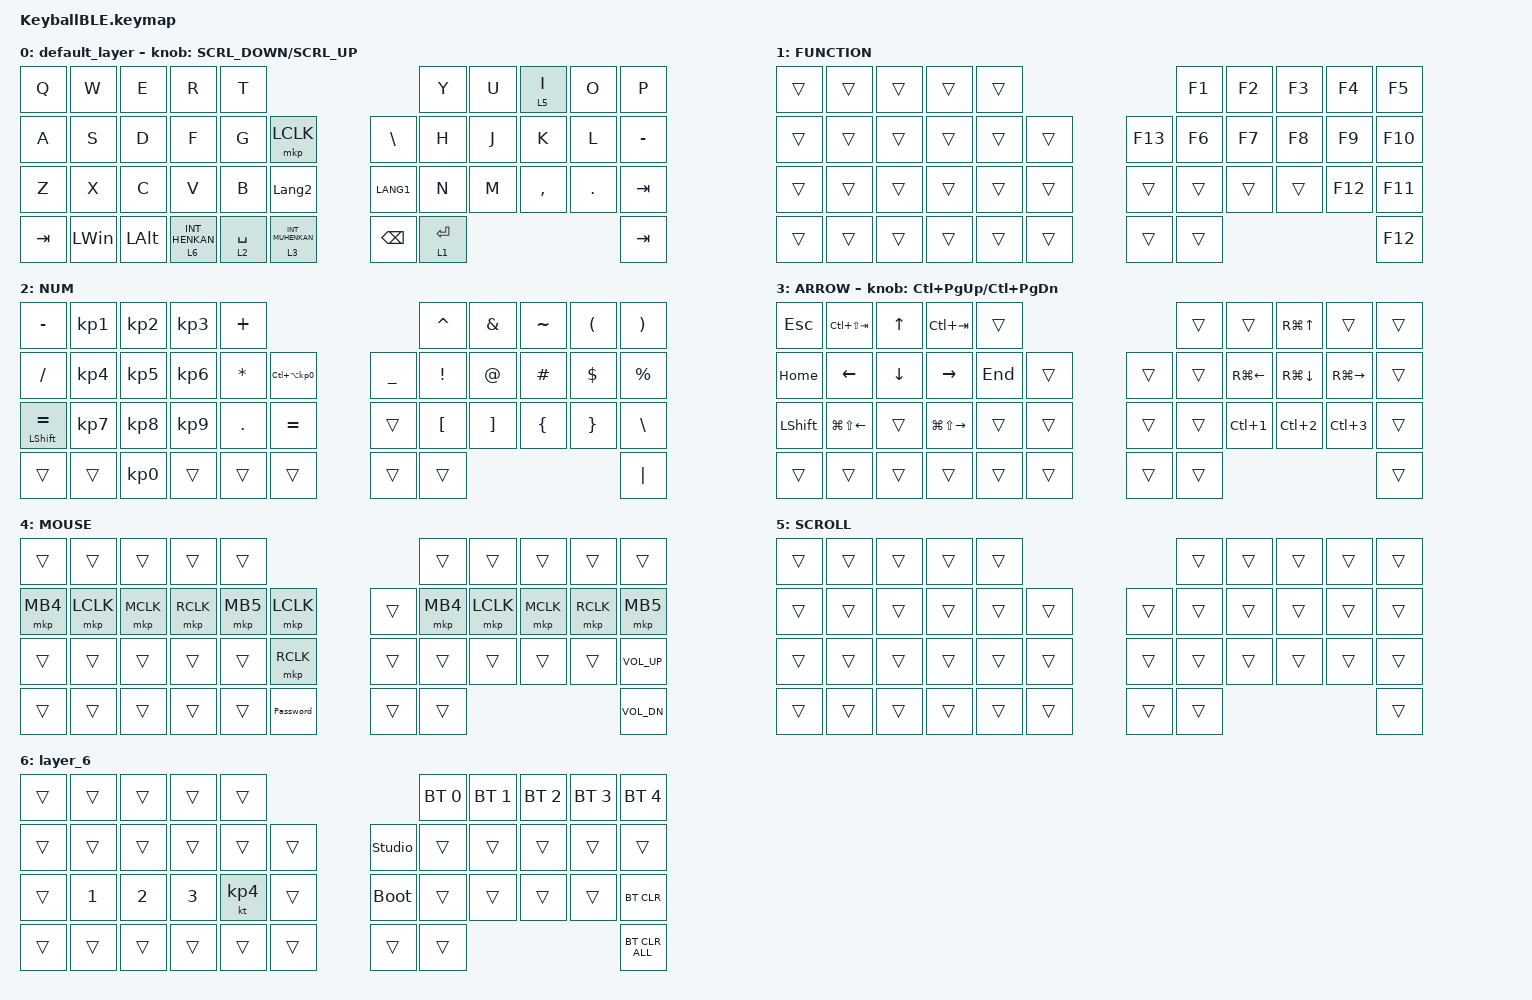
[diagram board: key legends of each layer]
#define ZMK_POINTING_DEFAULT_SCRL_VAL 120    // default: 10

#include <behaviors.dtsi>
#include <dt-bindings/zmk/bt.h>
#include <dt-bindings/zmk/keys.h>
#include <dt-bindings/zmk/pointing.h>

#define MOUSE 4
#define SCROLL 5
#define NUM 6

&mt {
    flavor = "balanced";
    quick-tap-ms = <0>;
};

/ {
    combos {
        compatible = "zmk,combos";

        double_quotation {
            bindings = <&kp DOUBLE_QUOTES>;
            key-positions = <20 21>;
        };
    };

    macros {
        to_layer_0: to_layer_0 {
            compatible = "zmk,behavior-macro-one-param";
            #binding-cells = <1>;
            bindings = <&to 0 &macro_param_1to1 &kp MACRO_PLACEHOLDER>;
            label = "TO_LAYER_0";
        };

        Password: Password {
            compatible = "zmk,behavior-macro";
            #binding-cells = <0>;
            bindings = <&none &kp LS(Y) &kp U &kp K &kp I &kp N1 &kp N4 &kp N5 &kp N0 &kp LS(Y) &kp U &kp K &kp I &kp N1 &kp N4 &kp N5 &kp N0 &kp DLLR>;
            label = "PASSWORD";
        };
    };

    behaviors {
        lt_to_layer_0: lt_to_layer_0 {
            compatible = "zmk,behavior-hold-tap";
            label = "LAYER_TAP_TO_0";
            bindings = <&mo>, <&to_layer_0>;

            #binding-cells = <2>;
            tapping-term-ms = <200>;
        };

        ROTATE: ROTATE {
            compatible = "zmk,behavior-sensor-rotate-var";
            label = "ROTATE";
            #sensor-binding-cells = <2>;
            bindings = <&msc>, <&msc>;

            tap-ms = <20>;
        };
    };

    keymap {
        compatible = "zmk,keymap";

        default_layer {
            bindings = <
&kp Q    &kp W         &kp E         &kp R                        &kp T                                                          &kp Y        &kp U  &lt 5 I    &kp O    &kp P
&kp A    &kp S         &kp D         &kp F                        &kp G        &mkp LCLK                          &kp BACKSLASH  &kp H        &kp J  &kp K      &kp L    &kp MINUS
&kp Z    &kp X         &kp C         &kp V                        &kp B        &kp LANGUAGE_2                     &kp LANG1      &kp N        &kp M  &kp COMMA  &kp DOT  &kp TAB
&kp TAB  &kp LEFT_WIN  &kp LEFT_ALT  &lt_to_layer_0 6 INT_HENKAN  &lt 2 SPACE  &lt_to_layer_0 3 INT_MUHENKAN      &kp BACKSPACE  &lt 1 ENTER                             &kp TAB
            >;

            sensor-bindings = <&ROTATE SCRL_DOWN SCRL_UP>;
        };

        FUNCTION {
            bindings = <
&trans  &trans  &trans  &trans  &trans                       &kp F1  &kp F2  &kp F3  &kp F4   &kp F5
&trans  &trans  &trans  &trans  &trans  &trans      &kp F13  &kp F6  &kp F7  &kp F8  &kp F9   &kp F10
&trans  &trans  &trans  &trans  &trans  &trans      &trans   &trans  &trans  &trans  &kp F12  &kp F11
&trans  &trans  &trans  &trans  &trans  &trans      &trans   &trans                           &kp F12
            >;
        };

        NUM {
            bindings = <
&kp MINUS             &kp KP_NUMBER_1  &kp KP_NUMBER_2  &kp KP_NUMBER_3  &kp PLUS                                                   &kp CARET         &kp AMPERSAND      &kp TILDE       &kp LEFT_PARENTHESIS  &kp RIGHT_PARENTHESIS
&kp SLASH             &kp KP_NUMBER_4  &kp KP_NUMBER_5  &kp KP_NUMBER_6  &kp ASTERISK  &kp LC(LA(KP_NUMBER_0))      &kp UNDERSCORE  &kp EXCLAMATION   &kp AT_SIGN        &kp HASH        &kp DOLLAR            &kp PERCENT
&mt LEFT_SHIFT EQUAL  &kp KP_NUMBER_7  &kp KP_NUMBER_8  &kp KP_NUMBER_9  &kp PERIOD    &kp EQUAL                    &trans          &kp LEFT_BRACKET  &kp RIGHT_BRACKET  &kp LEFT_BRACE  &kp RIGHT_BRACE       &kp BACKSLASH
&trans                &trans           &kp KP_NUMBER_0  &trans           &trans        &trans                       &trans          &trans                                                                     &kp PIPE
            >;
        };

        ARROW {
            bindings = <
&kp ESCAPE      &kp LC(LS(TAB))         &kp UP_ARROW    &kp LC(TAB)              &trans                       &trans  &trans              &kp RG(UP_ARROW)  &trans            &trans
&kp HOME        &kp LEFT_ARROW          &kp DOWN_ARROW  &kp RIGHT_ARROW          &kp END  &trans      &trans  &trans  &kp RG(LEFT_ARROW)  &kp RG(DOWN)      &kp RG(RIGHT)     &trans
&kp LEFT_SHIFT  &kp LG(LS(LEFT_ARROW))  &trans          &kp LG(LS(RIGHT_ARROW))  &trans   &trans      &trans  &trans  &kp LC(NUMBER_1)    &kp LC(NUMBER_2)  &kp LC(NUMBER_3)  &trans
&trans          &trans                  &trans          &trans                   &trans   &trans      &trans  &trans                                                          &trans
            >;

            sensor-bindings = <&inc_dec_kp LC(PAGE_UP) LC(PAGE_DOWN)>;
        };

        MOUSE {
            bindings = <
&trans    &trans     &trans     &trans     &trans                           &trans    &trans     &trans     &trans     &trans
&mkp MB4  &mkp LCLK  &mkp MCLK  &mkp RCLK  &mkp MB5  &mkp LCLK      &trans  &mkp MB4  &mkp LCLK  &mkp MCLK  &mkp RCLK  &mkp MB5
&trans    &trans     &trans     &trans     &trans    &mkp RCLK      &trans  &trans    &trans     &trans     &trans     &kp C_VOLUME_UP
&trans    &trans     &trans     &trans     &trans    &Password      &trans  &trans                                     &kp C_VOL_DN
            >;
        };

        SCROLL {
            bindings = <
&trans  &trans  &trans  &trans  &trans                      &trans  &trans  &trans  &trans  &trans
&trans  &trans  &trans  &trans  &trans  &trans      &trans  &trans  &trans  &trans  &trans  &trans
&trans  &trans  &trans  &trans  &trans  &trans      &trans  &trans  &trans  &trans  &trans  &trans
&trans  &trans  &trans  &trans  &trans  &trans      &trans  &trans                          &trans
            >;
        };

        layer_6 {
            bindings = <
&trans  &trans        &trans        &trans        &trans                                 &bt BT_SEL 0  &bt BT_SEL 1  &bt BT_SEL 2  &bt BT_SEL 3  &bt BT_SEL 4
&trans  &trans        &trans        &trans        &trans     &trans      &studio_unlock  &trans        &trans        &trans        &trans        &trans
&trans  &kp NUMBER_1  &kp NUMBER_2  &kp NUMBER_3  &kt KP_N4  &trans      &bootloader     &trans        &trans        &trans        &trans        &bt BT_CLR
&trans  &trans        &trans        &trans        &trans     &trans      &trans          &trans                                                  &bt BT_CLR_ALL
            >;
        };
    };
};
